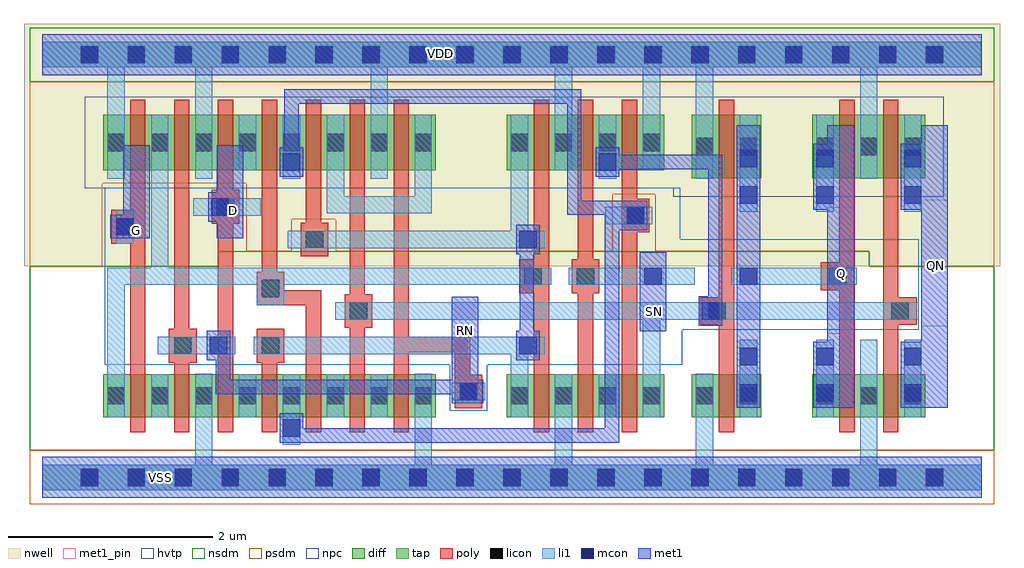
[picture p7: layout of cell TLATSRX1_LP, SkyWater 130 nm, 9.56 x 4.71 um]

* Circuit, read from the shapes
.subckt TLATSRX1_LP D G Q QN RN SN VDD VSS
XM1 n1 G n2 VSS sky130_fd_pr__nfet_01v8 w=0.42 l=0.15
XM2 VSS RN n1 VSS sky130_fd_pr__nfet_01v8 w=0.42 l=0.15
XM3 n3 D VSS VSS sky130_fd_pr__nfet_01v8 w=0.42 l=0.15
XM4 n4 n5 n3 VSS sky130_fd_pr__nfet_01v8 w=0.42 l=0.15
XM5 n6 n2 n4 VSS sky130_fd_pr__nfet_01v8 w=0.42 l=0.15
XM6 n7 n8 n6 VSS sky130_fd_pr__nfet_01v8 w=0.42 l=0.15
XM7 VSS RN n7 VSS sky130_fd_pr__nfet_01v8 w=0.42 l=0.15
XM8 VSS n2 n5 VSS sky130_fd_pr__nfet_01v8 w=0.42 l=0.15
XM9 n9 SN VSS VSS sky130_fd_pr__nfet_01v8 w=0.42 l=0.15
XM10 n8 n4 n9 VSS sky130_fd_pr__nfet_01v8 w=0.42 l=0.15
XM11 n10 n8 VSS VSS sky130_fd_pr__nfet_01v8 w=0.42 l=0.15
XM12 VSS n10 Q VSS sky130_fd_pr__nfet_01v8 w=0.42 l=0.15
XM13 QN n8 VSS VSS sky130_fd_pr__nfet_01v8 w=0.42 l=0.15
XM14 n2 G VDD VDD sky130_fd_pr__pfet_01v8_hvt w=0.54 l=0.15
XM15 VDD RN n2 VDD sky130_fd_pr__pfet_01v8_hvt w=0.54 l=0.15
XM16 n11 D VDD VDD sky130_fd_pr__pfet_01v8_hvt w=0.54 l=0.15
XM17 n4 n2 n11 VDD sky130_fd_pr__pfet_01v8_hvt w=0.54 l=0.15
XM18 n12 n5 n4 VDD sky130_fd_pr__pfet_01v8_hvt w=0.54 l=0.15
XM19 VDD n8 n12 VDD sky130_fd_pr__pfet_01v8_hvt w=0.54 l=0.15
XM20 n12 RN VDD VDD sky130_fd_pr__pfet_01v8_hvt w=0.54 l=0.15
XM21 VDD n2 n5 VDD sky130_fd_pr__pfet_01v8_hvt w=0.54 l=0.15
XM22 n8 SN VDD VDD sky130_fd_pr__pfet_01v8_hvt w=0.54 l=0.15
XM23 VDD n4 n8 VDD sky130_fd_pr__pfet_01v8_hvt w=0.54 l=0.15
XM24 n10 n8 VDD VDD sky130_fd_pr__pfet_01v8_hvt w=0.62 l=0.15
XM25 VDD n10 Q VDD sky130_fd_pr__pfet_01v8_hvt w=0.62 l=0.15
XM26 QN n8 VDD VDD sky130_fd_pr__pfet_01v8_hvt w=0.62 l=0.15
.ends

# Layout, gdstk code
from math import pi, radians
import gdstk
lib = gdstk.Library(unit=1e-6, precision=1e-09)
def R(c, l, rs):  # rectangles x0, y0, x1, y1
    for r in rs: c.add(gdstk.rectangle(r[:2], r[2:], *l))
def A(c, l, x, y, w, h, nx, ny, dx, dy):  # array of equal rectangles
    R(c, l, [(x+i*dx, y+j*dy, x+i*dx+w, y+j*dy+h) for i in range(nx) for j in range(ny)])
def P(c, l, *ps):  # polygons
    for p in ps: c.add(gdstk.Polygon(p, *l))
nwell = (64, 20)
diff = (65, 20)
tap = (65, 44)
poly = (66, 20)
licon = (66, 44)
li1 = (67, 20)
mcon = (67, 44)
met1_pin = (68, 16)
met1 = (68, 20)
hvtp = (78, 44)
nsdm = (93, 44)
psdm = (94, 20)
npc = (95, 20)

pyl1con_c_cdns_758729379 = lib.new_cell('PYL1CON_C_CDNS_758729379653')
R(pyl1con_c_cdns_758729379, poly, [(-0.135,-0.165,0.135,0.165)])
R(pyl1con_c_cdns_758729379, licon, [(-0.085,-0.085,0.085,0.085)])
R(pyl1con_c_cdns_758729379, npc, [(-0.185,-0.185,0.185,0.185)])

l1m1_c_cdns_758729379655 = lib.new_cell('L1M1_C_CDNS_758729379655')
R(l1m1_c_cdns_758729379655, li1, [(-0.085,-0.165,0.085,0.165)])
R(l1m1_c_cdns_758729379655, mcon, [(-0.085,-0.085,0.085,0.085)])
R(l1m1_c_cdns_758729379655, met1, [(-0.115,-0.145,0.115,0.145)])

l1m1_c_cdns_758729379654 = lib.new_cell('L1M1_C_CDNS_758729379654')
R(l1m1_c_cdns_758729379654, li1, [(-0.165,-0.085,0.165,0.085)])
R(l1m1_c_cdns_758729379654, mcon, [(-0.085,-0.085,0.085,0.085)])
R(l1m1_c_cdns_758729379654, met1, [(-0.115,-0.145,0.115,0.145)])

l1m1_c_cdns_758729379659 = lib.new_cell('L1M1_C_CDNS_758729379659')
R(l1m1_c_cdns_758729379659, li1, [(-0.085,-0.345,0.085,0.345)])
R(l1m1_c_cdns_758729379659, mcon, [(-0.085,-0.265,0.085,-0.095), (-0.085,0.095,0.085,0.265)])
R(l1m1_c_cdns_758729379659, met1, [(-0.115,-0.325,0.115,0.325)])

tlatsrx1_lp = lib.new_cell('TLATSRX1_LP')
R(tlatsrx1_lp, nwell, [(-0.18,2.07,9.38,4.445)])
R(tlatsrx1_lp, diff, [(0.595,0.59,3.855,1.01), (4.55,0.59,6.09,1.01), (6.36,0.59,7.04,1.01), (7.54,0.59,8.65,1.01), (6.36,2.93,7.04,3.55), (7.54,2.93,8.65,3.55), (0.595,3.01,3.855,3.55), (4.55,3.01,6.09,3.55)])
A(tlatsrx1_lp, poly, 0.86, 0.44, 0.15, 3.26, 3, 1, 0.43, 0)
A(tlatsrx1_lp, poly, 4.815, 0.44, 0.15, 3.26, 3, 1, 0.43, 0)
R(tlatsrx1_lp, poly, [(2.15,0.44,2.3,1.16), (3.01,0.44,3.16,3.7), (6.625,0.44,6.775,3.7), (7.805,0.44,7.955,3.7), (8.235,0.44,8.385,3.7), (2.58,2.465,2.73,3.7)])
P(tlatsrx1_lp, poly, [(2.73,1.835),(2.3,1.835),(2.3,3.7),(2.15,3.7),(2.15,1.685),(2.58,1.685),(2.58,0.44),(2.73,0.44)],
  [(4.19,1.375),(3.59,1.375),(3.59,3.7),(3.44,3.7),(3.44,0.44),(3.59,0.44),(3.59,1.225),(4.04,1.225),(4.04,0.84),(4.19,0.84)])
A(tlatsrx1_lp, licon, 0.375, -0.085, 0.17, 0.17, 19, 2, 0.46, 4.14)
A(tlatsrx1_lp, licon, 0.635, 0.715, 0.17, 0.17, 8, 2, 0.43, 2.48)
A(tlatsrx1_lp, licon, 4.59, 0.715, 0.17, 0.17, 4, 2, 0.43, 2.48)
A(tlatsrx1_lp, licon, 7.58, 0.715, 0.17, 0.17, 3, 2, 0.43, 2.44)
R(tlatsrx1_lp, licon, [(6.4,0.715,6.57,0.885), (6.83,0.715,7,0.885), (6.4,3.155,6.57,3.325), (6.83,3.155,7,3.325)])
A(tlatsrx1_lp, li1, 1.925, 0.59, 0.17, 0.42, 4, 1, 0.43, 0)
R(tlatsrx1_lp, li1, [(1.065,0.59,1.235,1.01), (5.45,0.59,5.62,1.01), (6.83,0.59,7,1.01), (7.58,0.59,7.75,1.01), (8.44,0.59,8.61,1.01), (6.83,2.93,7,3.55), (7.58,2.93,7.75,3.55), (8.44,2.93,8.61,3.55), (1.925,3.01,2.095,3.55), (2.355,3.01,2.525,3.55), (5.45,3.01,5.62,3.55)])
P(tlatsrx1_lp, li1, [(3.815,3.55),(3.645,3.55),(3.645,2.755),(2.955,2.755),(2.955,3.55),(2.785,3.55),(2.785,2.585),(3.815,2.585)],
  [(4.76,3.55),(4.59,3.55),(4.59,2.415),(2.405,2.415),(2.405,2.245),(4.7,2.245),(4.7,2.32),(4.76,2.32)],
  [(4.76,1.375),(2.07,1.375),(2.07,1.205),(4.59,1.205),(4.59,0.59),(4.76,0.59)],
  [(4.985,2.055),(1.235,2.055),(1.235,3.55),(1.065,3.55),(1.065,2.055),(0.635,2.055),(0.635,0.59),(0.805,0.59),(0.805,1.885),(2.1,1.885),(2.1,1.685),(2.37,1.685),(2.37,1.885),(4.985,1.885)],
  [(8.585,1.715),(2.87,1.715),(2.87,1.545),(5.88,1.545),(5.88,0.59),(6.05,0.59),(6.05,1.545),(8.585,1.545)],
  [(9.2,4.265),(0,4.265),(0,4.015),(0.635,4.015),(0.635,2.925),(0.805,2.925),(0.805,4.015),(1.495,4.015),(1.495,2.925),(1.665,2.925),(1.665,4.015),(3.215,4.015),(3.215,2.925),(3.385,2.925),(3.385,4.015),(5.02,4.015),(5.02,3.01),(5.19,3.01),(5.19,4.015),(5.88,4.015),(5.88,3.01),(6.05,3.01),(6.05,4.015),(6.4,4.015),(6.4,2.925),(6.57,2.925),(6.57,4.015),(8.01,4.015),(8.01,2.925),(8.18,2.925),(8.18,4.015),(9.2,4.015)],
  [(9.2,0.125),(8.18,0.125),(8.18,1.35),(8.01,1.35),(8.01,0.125),(6.57,0.125),(6.57,1.015),(6.4,1.015),(6.4,0.125),(5.19,0.125),(5.19,1.01),(5.02,1.01),(5.02,0.125),(3.815,0.125),(3.815,1.015),(3.645,1.015),(3.645,0.125),(1.665,0.125),(1.665,1.015),(1.495,1.015),(1.495,0.125),(0,0.125),(0,-0.125),(9.2,-0.125)])
A(tlatsrx1_lp, mcon, 0.375, -0.085, 0.17, 0.17, 19, 2, 0.46, 4.14)
R(tlatsrx1_lp, met1_pin, [(4.01,0.83,4.27,1.77), (7.69,1.405,7.95,2.645), (5.85,1.43,6.11,2.205), (8.61,1.48,8.87,2.72), (0.79,2.34,1.05,3.255), (1.71,2.34,1.97,3.255)])
R(tlatsrx1_lp, met1, [(0,-0.2,9.2,0.2), (7.69,0.68,7.95,3.45), (8.61,0.68,8.87,3.45), (5.85,1.43,6.11,2.205), (0.79,2.34,1.05,3.255), (1.71,2.34,1.97,3.255), (0,3.94,9.2,4.34)])
P(tlatsrx1_lp, met1, [(4.32,0.955),(4.27,0.955),(4.27,1.77),(4.01,1.77),(4.01,0.955),(1.84,0.955),(1.84,1.36),(1.7,1.36),(1.7,0.815),(4.01,0.815),(4.01,0.725),(4.27,0.725),(4.27,0.815),(4.32,0.815)],
  [(5.695,2.71),(5.28,2.71),(5.28,3.8),(2.37,3.8),(2.37,2.97),(2.51,2.97),(2.51,3.66),(5.14,3.66),(5.14,2.57),(5.51,2.57),(5.51,0.48),(2.37,0.48),(2.37,0.34),(5.65,0.34),(5.65,2.42),(5.695,2.42)])
P(tlatsrx1_lp, hvtp, [(8.83,3.73),(0.415,3.73),(0.415,2.83),(6.18,2.83),(6.18,2.75),(8.83,2.75)])
R(tlatsrx1_lp, nsdm, [(-0.125,3.875,9.325,4.405)])
P(tlatsrx1_lp, nsdm, [(9.325,2.07),(8.1,2.07),(8.1,2.215),(1.72,2.215),(1.72,2.07),(-0.125,2.07),(-0.125,0.265),(9.325,0.265)])
R(tlatsrx1_lp, psdm, [(-0.125,-0.265,9.325,0.265)])
P(tlatsrx1_lp, psdm, [(9.325,3.875),(-0.125,3.875),(-0.125,2.07),(0.585,2.07),(0.585,2.88),(1.995,2.88),(1.995,2.215),(2.445,2.215),(2.445,2.53),(2.875,2.53),(2.875,2.215),(5.585,2.215),(5.585,2.775),(6.005,2.775),(6.005,2.215),(8.1,2.215),(8.1,2.07),(9.325,2.07)])
P(tlatsrx1_lp, npc, [(8.585,2.33),(6.25,2.33),(6.25,2.835),(0.61,2.835),(0.61,1.105),(3.99,1.105),(3.99,0.655),(4.36,0.655),(4.36,1.105),(6.27,1.105),(6.27,1.445),(8.585,1.445)])
tlatsrx1_lp.add(gdstk.FlexPath([(1.48,2.65),(2.14,2.65)], 0.17, ends="flush", simple_path=True, layer=67, datatype=20))  # li1
tlatsrx1_lp.add(gdstk.FlexPath([(1.13,1.29),(1.77,1.29)], 0.17, ends="flush", simple_path=True, layer=67, datatype=20))  # li1
tlatsrx1_lp.add(gdstk.FlexPath([(6.925,1.97),(7.975,1.97)], 0.17, ends="flush", simple_path=True, layer=67, datatype=20))  # li1
tlatsrx1_lp.add(gdstk.FlexPath([(5.515,2.565),(5.68,2.565)], 0.17, ends="flush", simple_path=True, layer=67, datatype=20))  # li1
tlatsrx1_lp.add(gdstk.FlexPath([(5.155,1.97),(6.39,1.97)], 0.17, ends="flush", simple_path=True, layer=67, datatype=20))  # li1
tlatsrx1_lp.add(gdstk.FlexPath([(0,4.14),(9.2,4.14)], 0.25, ends="flush", simple_path=True, layer=65, datatype=44))  # tap
tlatsrx1_lp.add(gdstk.FlexPath([(0,0),(9.2,0)], 0.25, ends="flush", simple_path=True, layer=65, datatype=44))  # tap
tlatsrx1_lp.add(gdstk.FlexPath([(4.745,2.475),(4.745,1.225)], 0.14, ends="flush", simple_path=True, layer=68, datatype=20))  # met1
tlatsrx1_lp.add(gdstk.FlexPath([(5.535,3.165),(5.535,3.09),(6.59,3.09),(6.59,1.705),(6.475,1.705)], 0.14, ends="flush", simple_path=True, layer=68, datatype=20))  # met1
tlatsrx1_lp.add(gdstk.FlexPath([(6.915,0.68),(6.915,3.45)], 0.23, ends="flush", simple_path=True, layer=68, datatype=20))  # met1
tlatsrx1_lp.add(gdstk.FlexPath([(0,4.14),(9.2,4.14)], 0.4, ends="flush", simple_path=True, layer=68, datatype=16))  # met1_pin
tlatsrx1_lp.add(gdstk.FlexPath([(0,0),(9.2,0)], 0.4, ends="flush", simple_path=True, layer=68, datatype=16))  # met1_pin
tlatsrx1_lp.add(gdstk.Reference(pyl1con_c_cdns_758729379, (6.61,1.63), rotation=pi/2, x_reflection=True))
tlatsrx1_lp.add(gdstk.Reference(pyl1con_c_cdns_758729379, (4.175,0.84), rotation=pi))
tlatsrx1_lp.add(gdstk.Reference(pyl1con_c_cdns_758729379, (4.805,1.97), rotation=pi, x_reflection=True))
tlatsrx1_lp.add(gdstk.Reference(pyl1con_c_cdns_758729379, (2.235,1.85), x_reflection=True))
tlatsrx1_lp.add(gdstk.Reference(pyl1con_c_cdns_758729379, (2.235,1.29), x_reflection=True))
tlatsrx1_lp.add(gdstk.Reference(pyl1con_c_cdns_758729379, (8.4,1.63), rotation=pi/2, x_reflection=True))
tlatsrx1_lp.add(gdstk.Reference(pyl1con_c_cdns_758729379, (7.79,1.97), rotation=pi/2, x_reflection=True))
tlatsrx1_lp.add(gdstk.Reference(pyl1con_c_cdns_758729379, (2.665,2.33), rotation=pi))
tlatsrx1_lp.add(gdstk.Reference(pyl1con_c_cdns_758729379, (5.32,1.97), rotation=pi, x_reflection=True))
tlatsrx1_lp.add(gdstk.Reference(pyl1con_c_cdns_758729379, (1.795,2.65), x_reflection=True))
tlatsrx1_lp.add(gdstk.Reference(pyl1con_c_cdns_758729379, (1.375,1.29), rotation=pi))
tlatsrx1_lp.add(gdstk.Reference(pyl1con_c_cdns_758729379, (5.81,2.565), x_reflection=True))
tlatsrx1_lp.add(gdstk.Reference(pyl1con_c_cdns_758729379, (3.095,1.63), rotation=pi))
tlatsrx1_lp.add(gdstk.Reference(pyl1con_c_cdns_758729379, (0.81,2.455), x_reflection=True))
tlatsrx1_lp.add(gdstk.Reference(l1m1_c_cdns_758729379655, (2.44,3.09), rotation=pi, x_reflection=True))
tlatsrx1_lp.add(gdstk.Reference(l1m1_c_cdns_758729379655, (2.44,0.485), rotation=pi, x_reflection=True))
tlatsrx1_lp.add(gdstk.Reference(l1m1_c_cdns_758729379655, (5.535,3.09), rotation=pi, x_reflection=True))
tlatsrx1_lp.add(gdstk.Reference(l1m1_c_cdns_758729379655, (4.175,0.84), rotation=pi/2))
tlatsrx1_lp.add(gdstk.Reference(l1m1_c_cdns_758729379654, (4.755,2.33), rotation=pi, x_reflection=True))
tlatsrx1_lp.add(gdstk.Reference(l1m1_c_cdns_758729379654, (6.545,1.63)))
tlatsrx1_lp.add(gdstk.Reference(l1m1_c_cdns_758729379654, (1.74,2.65), x_reflection=True))
tlatsrx1_lp.add(gdstk.Reference(l1m1_c_cdns_758729379654, (4.755,1.29), rotation=pi, x_reflection=True))
tlatsrx1_lp.add(gdstk.Reference(l1m1_c_cdns_758729379654, (5.98,1.97), x_reflection=True))
tlatsrx1_lp.add(gdstk.Reference(l1m1_c_cdns_758729379654, (1.725,1.29), x_reflection=True))
tlatsrx1_lp.add(gdstk.Reference(l1m1_c_cdns_758729379654, (5.81,2.565)))
tlatsrx1_lp.add(gdstk.Reference(l1m1_c_cdns_758729379654, (6.915,1.97), x_reflection=True))
tlatsrx1_lp.add(gdstk.Reference(l1m1_c_cdns_758729379654, (0.81,2.455), rotation=3*pi/2, x_reflection=True))
tlatsrx1_lp.add(gdstk.Reference(l1m1_c_cdns_758729379659, (7.665,1.005)))
tlatsrx1_lp.add(gdstk.Reference(l1m1_c_cdns_758729379659, (7.665,2.945)))
tlatsrx1_lp.add(gdstk.Reference(l1m1_c_cdns_758729379659, (8.525,1.005)))
tlatsrx1_lp.add(gdstk.Reference(l1m1_c_cdns_758729379659, (8.525,2.945)))
tlatsrx1_lp.add(gdstk.Reference(l1m1_c_cdns_758729379659, (6.915,1.005)))
tlatsrx1_lp.add(gdstk.Reference(l1m1_c_cdns_758729379659, (6.915,2.945)))
tlatsrx1_lp.add(gdstk.Label('VSS', (1.16,-0.005), layer=68, texttype=5))
tlatsrx1_lp.add(gdstk.Label('RN', (4.14,1.435), layer=68, texttype=5))
tlatsrx1_lp.add(gdstk.Label('Q', (7.832,1.999), layer=68, texttype=5))
tlatsrx1_lp.add(gdstk.Label('QN', (8.752,2.074), layer=68, texttype=5))
tlatsrx1_lp.add(gdstk.Label('G', (0.922,2.414), layer=68, texttype=5))
tlatsrx1_lp.add(gdstk.Label('D', (1.875,2.61), layer=68, texttype=5))
tlatsrx1_lp.add(gdstk.Label('VDD', (3.9,4.15), layer=68, texttype=5))
tlatsrx1_lp.add(gdstk.Label('SN', (5.997,1.624), layer=68, texttype=5))

lib.write_gds('TLATSRX1_LP.gds')
